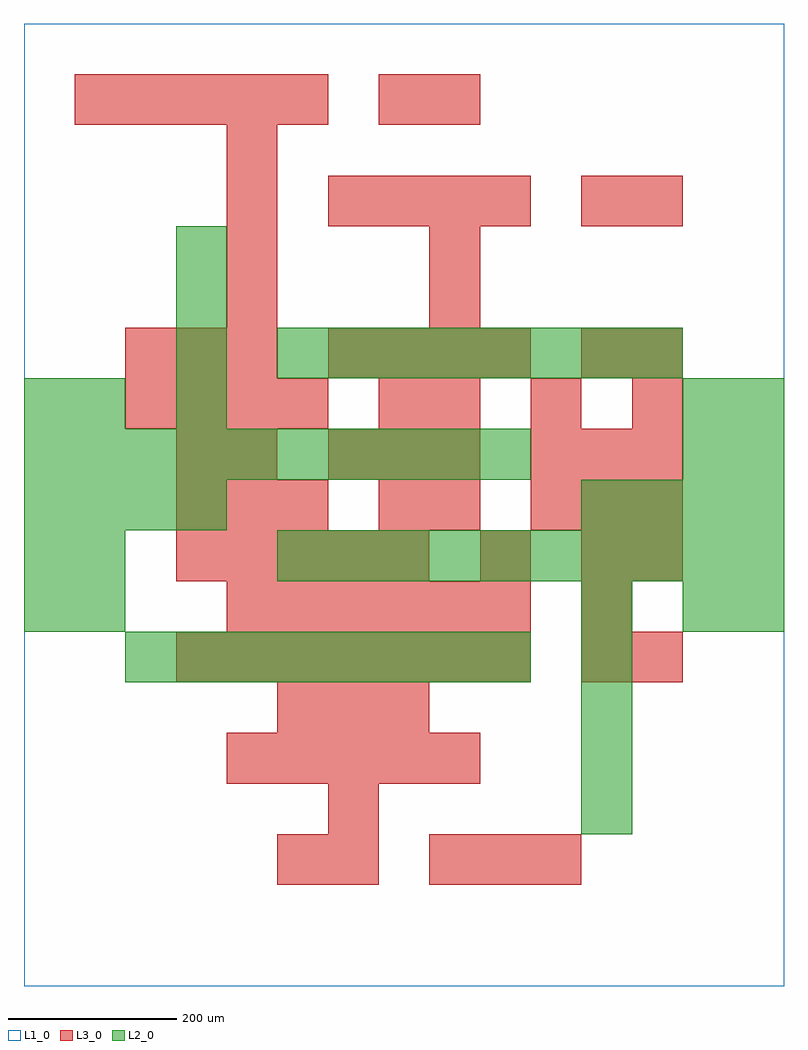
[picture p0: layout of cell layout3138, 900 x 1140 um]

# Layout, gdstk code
import gdstk
lib = gdstk.Library(unit=1e-6, precision=1e-09)
def R(c, l, rs):  # rectangles x0, y0, x1, y1
    for r in rs: c.add(gdstk.rectangle(r[:2], r[2:], *l))
def A(c, l, x, y, w, h, nx, ny, dx, dy):  # array of equal rectangles
    R(c, l, [(x+i*dx, y+j*dy, x+i*dx+w, y+j*dy+h) for i in range(nx) for j in range(ny)])
L1_0 = (1, 0)
L2_0 = (2, 0)
L3_0 = (3, 0)

layout3138 = lib.new_cell('layout3138')
R(layout3138, L1_0, [(0,0,900,1140)])
A(layout3138, L2_0, 660, 180, 60, 60, 1, 5, 0, 60)
A(layout3138, L2_0, 120, 360, 60, 60, 8, 1, 60, 0)
A(layout3138, L2_0, 300, 480, 60, 60, 10, 1, 60, 0)
A(layout3138, L2_0, 0, 540, 60, 60, 4, 1, 60, 0)
A(layout3138, L2_0, 660, 540, 60, 60, 4, 1, 60, 0)
A(layout3138, L2_0, 0, 600, 60, 60, 10, 1, 60, 0)
A(layout3138, L2_0, 180, 660, 60, 60, 1, 4, 0, 60)
A(layout3138, L2_0, 300, 720, 60, 60, 8, 1, 60, 0)
R(layout3138, L2_0, [(0,420,60,480), (60,420,120,480), (780,420,840,480), (840,420,900,480), (0,480,60,540), (60,480,120,540), (780,600,840,660), (840,600,900,660), (0,660,60,720), (60,660,120,720), (780,660,840,720), (840,660,900,720)])
A(layout3138, L3_0, 480, 120, 60, 60, 3, 1, 60, 0)
A(layout3138, L3_0, 240, 240, 60, 60, 5, 1, 60, 0)
A(layout3138, L3_0, 300, 300, 60, 60, 3, 1, 60, 0)
A(layout3138, L3_0, 180, 360, 60, 60, 7, 1, 60, 0)
A(layout3138, L3_0, 660, 360, 60, 60, 1, 3, 0, 60)
A(layout3138, L3_0, 240, 420, 60, 60, 6, 1, 60, 0)
A(layout3138, L3_0, 180, 480, 60, 60, 5, 1, 60, 0)
A(layout3138, L3_0, 180, 540, 60, 60, 3, 1, 60, 0)
A(layout3138, L3_0, 600, 540, 60, 60, 3, 2, 60, 60)
A(layout3138, L3_0, 360, 600, 60, 60, 3, 1, 60, 0)
A(layout3138, L3_0, 120, 660, 60, 60, 4, 1, 60, 0)
A(layout3138, L3_0, 480, 660, 60, 60, 3, 1, 120, 0)
A(layout3138, L3_0, 120, 720, 60, 60, 3, 1, 60, 0)
A(layout3138, L3_0, 360, 720, 60, 60, 4, 2, 60, 180)
A(layout3138, L3_0, 240, 780, 60, 60, 1, 4, 0, 60)
A(layout3138, L3_0, 60, 1020, 60, 60, 5, 1, 60, 0)
R(layout3138, L3_0, [(300,120,360,180), (360,120,420,180), (360,180,420,240), (720,360,780,420), (540,480,600,540), (720,480,780,540), (420,540,480,600), (480,540,540,600), (180,600,240,660), (240,600,300,660), (420,660,480,720), (660,720,720,780), (720,720,780,780), (480,780,540,840), (480,840,540,900), (660,900,720,960), (720,900,780,960), (420,1020,480,1080), (480,1020,540,1080)])

lib.write_gds('layout3138.gds')
